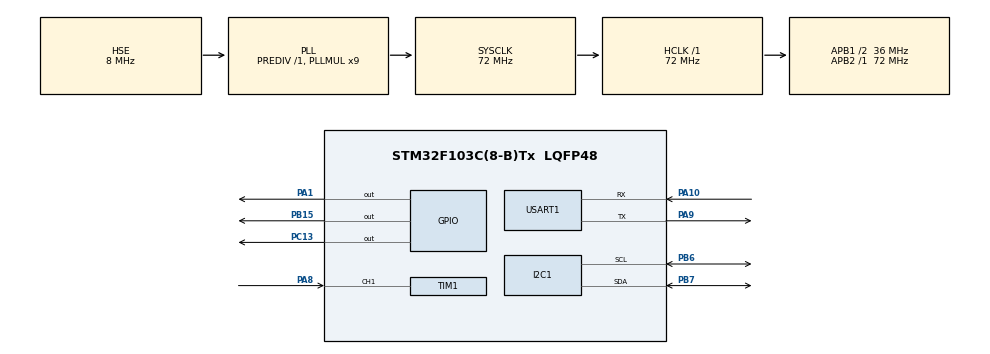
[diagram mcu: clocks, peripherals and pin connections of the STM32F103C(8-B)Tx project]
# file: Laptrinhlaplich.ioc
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Mcu.Family=STM32F1
Mcu.Name=STM32F103C(8-B)Tx
Mcu.Package=LQFP48
NVIC.PriorityGroup=NVIC_PRIORITYGROUP_4
NVIC.TIM1_CC_IRQn=true\:2\:0\:true\:false\:true\:true\:true
NVIC.TIM2_IRQn=true\:1\:0\:true\:false\:true\:true\:true
NVIC.USART1_IRQn=true\:0\:0\:true\:false\:true\:true\:true
PA1.Signal=GPIO_Output
PA10.Mode=Asynchronous
PA10.Signal=USART1_RX
PA13.Mode=Serial_Wire
PA13.Signal=SYS_JTMS-SWDIO
PA14.Mode=Serial_Wire
PA14.Signal=SYS_JTCK-SWCLK
PA8.Signal=S_TIM1_CH1
PA9.Mode=Asynchronous
PA9.Signal=USART1_TX
PB15.Signal=GPIO_Output
PB6.Mode=I2C
PB6.Signal=I2C1_SCL
PB7.Mode=I2C
PB7.Signal=I2C1_SDA
PC13-TAMPER-RTC.Signal=GPIO_Output
PD0-OSC_IN.Mode=HSE-External-Oscillator
PD0-OSC_IN.Signal=RCC_OSC_IN
PD1-OSC_OUT.Mode=HSE-External-Oscillator
PD1-OSC_OUT.Signal=RCC_OSC_OUT
ProjectManager.HeapSize=0x200
ProjectManager.StackSize=0x400
ProjectManager.TargetToolchain=MDK-ARM V5.27
RCC.AHBFreq_Value=72000000
RCC.APB1CLKDivider=RCC_HCLK_DIV2
RCC.APB1Freq_Value=36000000
RCC.APB1TimFreq_Value=72000000
RCC.APB2Freq_Value=72000000
RCC.APB2TimFreq_Value=72000000
RCC.HCLKFreq_Value=72000000
RCC.PLLMUL=RCC_PLL_MUL9
RCC.PLLSourceVirtual=RCC_PLLSOURCE_HSE
RCC.SYSCLKFreq_VALUE=72000000
RCC.SYSCLKSource=RCC_SYSCLKSOURCE_PLLCLK
RCC.USBFreq_Value=72000000
SH.S_TIM1_CH1.0=TIM1_CH1,Input_Capture1_from_TI1
TIM1.Channel-Input_Capture1_from_TI1=TIM_CHANNEL_1
TIM1.Period=0xffff-1
TIM1.Prescaler=72-1
TIM2.AutoReloadPreload=TIM_AUTORELOAD_PRELOAD_ENABLE
TIM2.Period=9999
TIM2.Prescaler=7200-1
USART1.VirtualMode=VM_ASYNC
VP_TIM2_VS_ClockSourceINT.Mode=Internal
board=custom

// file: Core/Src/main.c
/* USER CODE BEGIN Header */
/**
  ******************************************************************************
  * @file           : main.c
  * @brief          : Main program body
  ******************************************************************************
  * @attention
  *
  * <h2><center>&copy; Copyright (c) 2022 STMicroelectronics.
  * All rights reserved.</center></h2>
  *
  * This software component is licensed by ST under BSD 3-Clause license,
  * the "License"; You may not use this file except in compliance with the
  * License. You may obtain a copy of the License at:
  *                        opensource.org/licenses/BSD-3-Clause
  *
  ******************************************************************************
  */
/* USER CODE END Header */
#include "main.h"

/* USER CODE BEGIN Includes */
#include <stdarg.h>
#include "stdlib.h"
#include "string.h"
#include "stdio.h"
#include "i2c-lcd.h"
#include "HCSR04.h"
#include "DHT22.h"
#include <math.h>
/* USER CODE END Includes */

I2C_HandleTypeDef hi2c1;

TIM_HandleTypeDef htim1;
TIM_HandleTypeDef htim2;

UART_HandleTypeDef huart1;

void SystemClock_Config(void);
static void MX_GPIO_Init(void);
static void MX_I2C1_Init(void);
static void MX_TIM1_Init(void);
static void MX_USART1_UART_Init(void);
static void MX_TIM2_Init(void);

/* USER CODE BEGIN 0 */

//@NOTE: RECREATE CODE --->>>> htim2.Init.Period = 3999;

char str[20];

//I. 	 UART VARIABLE
uint8_t rx_data;
uint8_t rx_buff[20];
uint8_t rx_index=0;
uint8_t rx_flag=0;
const char s[2]=",";

//II.  PERIOD VARIABLE
uint16_t time[3];
uint8_t time_index=0;
uint8_t is_first=0;
uint8_t period_start_flag=0;
uint32_t count=0;

//III. SENSOR VARIABLE
DHT22_Data_t comm;
float distance;
uint8_t temp,humi,dist;

//IV.  STATE VARIABLE
//typedef struct
//{
//		uint8_t hcsr04_state;
//		uint8_t dht22_state;
//		uint8_t lcd_state;
//}Task_state_t;

uint8_t state[3]={0,0,0};

//V.   LCD VARIABLE
uint8_t lcd_flag=0;

int fputc(int c, FILE * stream)
{
		HAL_UART_Transmit(&huart1,(uint8_t*)&c,1,10);
		return 0;
}
void HAL_UART_RxCpltCallback(UART_HandleTypeDef *huart)
{
		if(huart->Instance==USART1)
		{
			if(rx_data!=13)
			{
					rx_buff[rx_index++]= rx_data;
			}
			else if(rx_data==13)
			{
					rx_index=0;
					rx_flag=1;
			}
			HAL_UART_Receive_IT(&huart1,&rx_data,1);
		}
}

void HAL_TIM_PeriodElapsedCallback(TIM_HandleTypeDef *htim)
{
	if (htim->Instance == TIM2)
	{
		if(is_first==0)
		{
			//500ms
			count++;
			state[count%3]=1;
		}
		else
		{
			count++;
			TIM2->ARR=time[count%3];
			state[count%3]=1;
		}
	}
}

/* USER CODE END 0 */

int main(void)
{

  /* MCU Configuration--------------------------------------------------------*/

  /* Reset of all peripherals, Initializes the Flash interface and the Systick. */
  HAL_Init();

  /* Configure the system clock */
  SystemClock_Config();

  /* Initialize all configured peripherals */
  MX_GPIO_Init();
  MX_I2C1_Init();
  MX_TIM1_Init();
  MX_USART1_UART_Init();
  MX_TIM2_Init();
  /* USER CODE BEGIN 2 */

	//I.	 FOR UART
		HAL_UART_Receive_IT(&huart1,&rx_data,1);

	//II.  FOR HCSR04
		HAL_TIM_IC_Start_IT(&htim1,TIM_CHANNEL_1);

	//III. FOR DHT11
		HAL_TIM_Base_Start(&htim1);

	//IV.  TIM2
		HAL_TIM_Base_Start_IT(&htim2);

  /* USER CODE END 2 */

  /* Infinite loop */
  /* USER CODE BEGIN WHILE */
  while (1)
  {
		if(rx_flag)
		{
			 char *token;
			 token = strtok((char*)rx_buff,s);
			 time[time_index++]=atoi(token);
			 while( token != NULL )
			 {
					token = strtok(NULL, s);
					time[time_index++]=atoi(token);
			 }
			 memset(rx_buff,0,20);
			 rx_flag=0;
			 time_index=0;
			 count=0; is_first=1;
		}
		if(state[0]==1)
		{
			// Task1: HCSR04
				HCSR04_Read_Init();
				float data=HCSR04_Read_Return();
				dist=data/1;
				printf("DISTANCE= %f\n",data);
				state[0]=0;
		}
		if(state[1]==1)
		{
			// Task2: DHT22
				comm=DHT22_Read_Param();
				temp=comm.temperature/1;
				humi=comm.humidity/1;
				printf("TEMP= %f . HUDI= %f\n",comm.temperature,comm.humidity);
				state[1]=0;
		}
		if(state[2]==1)
		{
			// Task3: LCD
				if(lcd_flag==0)
				{
					lcd_init();
					lcd_flag=1;
				}
				sprintf(str,"TEMP=%d HUMI=%d",temp,humi);
				lcd_put_cur(0,0);
				lcd_send_string(str);
				sprintf(str,"DISTANCE=%d",dist);
				lcd_put_cur(1,2);
				lcd_send_string(str);
				if(dist<10)
				{
					lcd_put_cur(1,12);
					lcd_send_string("   ");
				}
				printf("FROM LCD TASK\n");
				state[2]=0;
		}
    /* USER CODE END WHILE */

  }
}

void SystemClock_Config(void)
{
  RCC_OscInitTypeDef RCC_OscInitStruct = {0};
  RCC_ClkInitTypeDef RCC_ClkInitStruct = {0};

  /** Initializes the RCC Oscillators according to the specified parameters
  * in the RCC_OscInitTypeDef structure.
  */
  RCC_OscInitStruct.OscillatorType = RCC_OSCILLATORTYPE_HSE;
  RCC_OscInitStruct.HSEState = RCC_HSE_ON;
  RCC_OscInitStruct.HSEPredivValue = RCC_HSE_PREDIV_DIV1;
  RCC_OscInitStruct.HSIState = RCC_HSI_ON;
  RCC_OscInitStruct.PLL.PLLState = RCC_PLL_ON;
  RCC_OscInitStruct.PLL.PLLSource = RCC_PLLSOURCE_HSE;
  RCC_OscInitStruct.PLL.PLLMUL = RCC_PLL_MUL9;
  if (HAL_RCC_OscConfig(&RCC_OscInitStruct) != HAL_OK)
  {
    Error_Handler();
  }
  /** Initializes the CPU, AHB and APB buses clocks
  */
  RCC_ClkInitStruct.ClockType = RCC_CLOCKTYPE_HCLK|RCC_CLOCKTYPE_SYSCLK
                              |RCC_CLOCKTYPE_PCLK1|RCC_CLOCKTYPE_PCLK2;
  RCC_ClkInitStruct.SYSCLKSource = RCC_SYSCLKSOURCE_PLLCLK;
  RCC_ClkInitStruct.AHBCLKDivider = RCC_SYSCLK_DIV1;
  RCC_ClkInitStruct.APB1CLKDivider = RCC_HCLK_DIV2;
  RCC_ClkInitStruct.APB2CLKDivider = RCC_HCLK_DIV1;

  if (HAL_RCC_ClockConfig(&RCC_ClkInitStruct, FLASH_LATENCY_2) != HAL_OK)
  {
    Error_Handler();
  }
}

static void MX_I2C1_Init(void)
{

  hi2c1.Instance = I2C1;
  hi2c1.Init.ClockSpeed = 100000;
  hi2c1.Init.DutyCycle = I2C_DUTYCYCLE_2;
  hi2c1.Init.OwnAddress1 = 0;
  hi2c1.Init.AddressingMode = I2C_ADDRESSINGMODE_7BIT;
  hi2c1.Init.DualAddressMode = I2C_DUALADDRESS_DISABLE;
  hi2c1.Init.OwnAddress2 = 0;
  hi2c1.Init.GeneralCallMode = I2C_GENERALCALL_DISABLE;
  hi2c1.Init.NoStretchMode = I2C_NOSTRETCH_DISABLE;
  if (HAL_I2C_Init(&hi2c1) != HAL_OK)
  {
    Error_Handler();
  }

}

static void MX_TIM1_Init(void)
{

  TIM_MasterConfigTypeDef sMasterConfig = {0};
  TIM_IC_InitTypeDef sConfigIC = {0};

  htim1.Instance = TIM1;
  htim1.Init.Prescaler = 72-1;
  htim1.Init.CounterMode = TIM_COUNTERMODE_UP;
  htim1.Init.Period = 0xffff-1;
  htim1.Init.ClockDivision = TIM_CLOCKDIVISION_DIV1;
  htim1.Init.RepetitionCounter = 0;
  htim1.Init.AutoReloadPreload = TIM_AUTORELOAD_PRELOAD_DISABLE;
  if (HAL_TIM_IC_Init(&htim1) != HAL_OK)
  {
    Error_Handler();
  }
  sMasterConfig.MasterOutputTrigger = TIM_TRGO_RESET;
  sMasterConfig.MasterSlaveMode = TIM_MASTERSLAVEMODE_DISABLE;
  if (HAL_TIMEx_MasterConfigSynchronization(&htim1, &sMasterConfig) != HAL_OK)
  {
    Error_Handler();
  }
  sConfigIC.ICPolarity = TIM_INPUTCHANNELPOLARITY_RISING;
  sConfigIC.ICSelection = TIM_ICSELECTION_DIRECTTI;
  sConfigIC.ICPrescaler = TIM_ICPSC_DIV1;
  sConfigIC.ICFilter = 0;
  if (HAL_TIM_IC_ConfigChannel(&htim1, &sConfigIC, TIM_CHANNEL_1) != HAL_OK)
  {
    Error_Handler();
  }

}

static void MX_TIM2_Init(void)
{

  TIM_ClockConfigTypeDef sClockSourceConfig = {0};
  TIM_MasterConfigTypeDef sMasterConfig = {0};

  htim2.Instance = TIM2;
  htim2.Init.Prescaler = 7200-1;
  htim2.Init.CounterMode = TIM_COUNTERMODE_UP;
  htim2.Init.Period = 3999;
  htim2.Init.ClockDivision = TIM_CLOCKDIVISION_DIV1;
  htim2.Init.AutoReloadPreload = TIM_AUTORELOAD_PRELOAD_ENABLE;
  if (HAL_TIM_Base_Init(&htim2) != HAL_OK)
  {
    Error_Handler();
  }
  sClockSourceConfig.ClockSource = TIM_CLOCKSOURCE_INTERNAL;
  if (HAL_TIM_ConfigClockSource(&htim2, &sClockSourceConfig) != HAL_OK)
  {
    Error_Handler();
  }
  sMasterConfig.MasterOutputTrigger = TIM_TRGO_RESET;
  sMasterConfig.MasterSlaveMode = TIM_MASTERSLAVEMODE_DISABLE;
  if (HAL_TIMEx_MasterConfigSynchronization(&htim2, &sMasterConfig) != HAL_OK)
  {
    Error_Handler();
  }

}

static void MX_USART1_UART_Init(void)
{

  huart1.Instance = USART1;
  huart1.Init.BaudRate = 115200;
  huart1.Init.WordLength = UART_WORDLENGTH_8B;
  huart1.Init.StopBits = UART_STOPBITS_1;
  huart1.Init.Parity = UART_PARITY_NONE;
  huart1.Init.Mode = UART_MODE_TX_RX;
  huart1.Init.HwFlowCtl = UART_HWCONTROL_NONE;
  huart1.Init.OverSampling = UART_OVERSAMPLING_16;
  if (HAL_UART_Init(&huart1) != HAL_OK)
  {
    Error_Handler();
  }

}

static void MX_GPIO_Init(void)
{
  GPIO_InitTypeDef GPIO_InitStruct = {0};

  /* GPIO Ports Clock Enable */
  __HAL_RCC_GPIOC_CLK_ENABLE();
  __HAL_RCC_GPIOD_CLK_ENABLE();
  __HAL_RCC_GPIOA_CLK_ENABLE();
  __HAL_RCC_GPIOB_CLK_ENABLE();

  /*Configure GPIO pin Output Level */
  HAL_GPIO_WritePin(GPIOC, GPIO_PIN_13, GPIO_PIN_RESET);

  /*Configure GPIO pin Output Level */
  HAL_GPIO_WritePin(GPIOA, GPIO_PIN_1, GPIO_PIN_RESET);

  /*Configure GPIO pin Output Level */
  HAL_GPIO_WritePin(GPIOB, GPIO_PIN_15, GPIO_PIN_RESET);

  /*Configure GPIO pin : PC13 */
  GPIO_InitStruct.Pin = GPIO_PIN_13;
  GPIO_InitStruct.Mode = GPIO_MODE_OUTPUT_PP;
  GPIO_InitStruct.Pull = GPIO_NOPULL;
  GPIO_InitStruct.Speed = GPIO_SPEED_FREQ_LOW;
  HAL_GPIO_Init(GPIOC, &GPIO_InitStruct);

  /*Configure GPIO pin : PA1 */
  GPIO_InitStruct.Pin = GPIO_PIN_1;
  GPIO_InitStruct.Mode = GPIO_MODE_OUTPUT_PP;
  GPIO_InitStruct.Pull = GPIO_NOPULL;
  GPIO_InitStruct.Speed = GPIO_SPEED_FREQ_LOW;
  HAL_GPIO_Init(GPIOA, &GPIO_InitStruct);

  /*Configure GPIO pin : PB15 */
  GPIO_InitStruct.Pin = GPIO_PIN_15;
  GPIO_InitStruct.Mode = GPIO_MODE_OUTPUT_PP;
  GPIO_InitStruct.Pull = GPIO_NOPULL;
  GPIO_InitStruct.Speed = GPIO_SPEED_FREQ_LOW;
  HAL_GPIO_Init(GPIOB, &GPIO_InitStruct);

}

void Error_Handler(void)
{
  __disable_irq();
  while (1)
  {
  }
}

/************************ (C) COPYRIGHT STMicroelectronics *****END OF FILE****/
